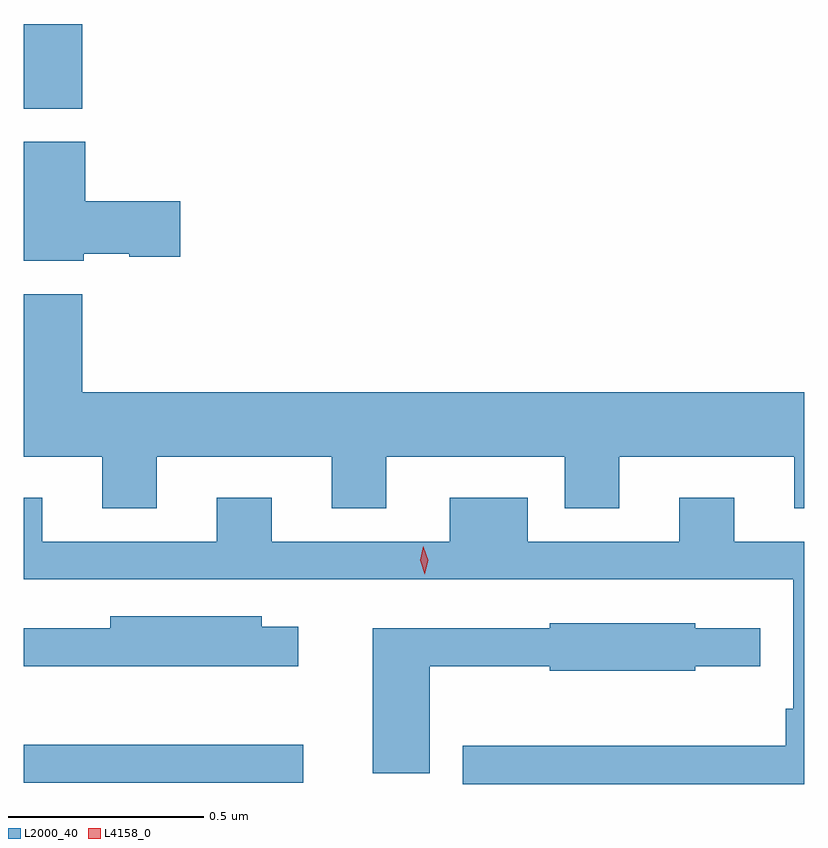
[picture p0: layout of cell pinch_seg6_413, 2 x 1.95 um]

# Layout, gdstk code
import gdstk
lib = gdstk.Library(unit=1e-6, precision=1e-09)
def R(c, l, rs):  # rectangles x0, y0, x1, y1
    for r in rs: c.add(gdstk.rectangle(r[:2], r[2:], *l))
def P(c, l, *ps):  # polygons
    for p in ps: c.add(gdstk.Polygon(p, *l))
L2000_40 = (2000, 40)
L4158_0 = (4158, 0)

pinch_seg6_413 = lib.new_cell('pinch_seg6_413')
R(pinch_seg6_413, L2000_40, [(687.476,927.852,688.192,927.95), (687.476,929.579,687.626,929.796)])
P(pinch_seg6_413, L2000_40, [(687.63,929.207),(687.747,929.207),(687.747,929.2),(687.877,929.2),(687.877,929.342),(687.634,929.342),(687.634,929.494),(687.476,929.494),(687.476,929.189),(687.63,929.189)],
  [(687.817,928.688),(688.265,928.688),(688.265,928.555),(688.405,928.555),(688.405,928.688),(688.862,928.688),(688.862,928.555),(689.002,928.555),(689.002,928.688),(689.45,928.688),(689.45,928.555),(689.476,928.555),(689.476,928.852),(687.626,928.852),(687.626,929.104),(687.476,929.104),(687.476,928.688),(687.677,928.688),(687.677,928.555),(687.817,928.555)],
  [(689.476,928.47),(689.296,928.47),(689.296,928.582),(689.156,928.582),(689.156,928.47),(688.768,928.47),(688.768,928.582),(688.568,928.582),(688.568,928.47),(688.111,928.47),(688.111,928.582),(687.971,928.582),(687.971,928.47),(687.523,928.47),(687.523,928.582),(687.476,928.582),(687.476,928.374),(689.448,928.374),(689.448,928.042),(689.428,928.042),(689.428,927.947),(688.601,927.947),(688.601,927.849),(689.476,927.849)],
  [(688.18,928.252),(688.086,928.252),(688.086,928.279),(687.698,928.279),(687.698,928.248),(687.476,928.248),(687.476,928.151),(688.18,928.151)],
  [(688.516,928.151),(688.824,928.151),(688.824,928.139),(689.196,928.139),(689.196,928.151),(689.363,928.151),(689.363,928.248),(689.196,928.248),(689.196,928.261),(688.824,928.261),(688.824,928.248),(688.37,928.248),(688.37,927.876),(688.516,927.876)])
P(pinch_seg6_413, L4158_0, [(688.503,928.386),(688.503,928.386),(688.492,928.422),(688.5,928.458),(688.5,928.458),(688.5,928.458),(688.512,928.422),(688.503,928.386)])

lib.write_gds('pinch_seg6_413.gds')
